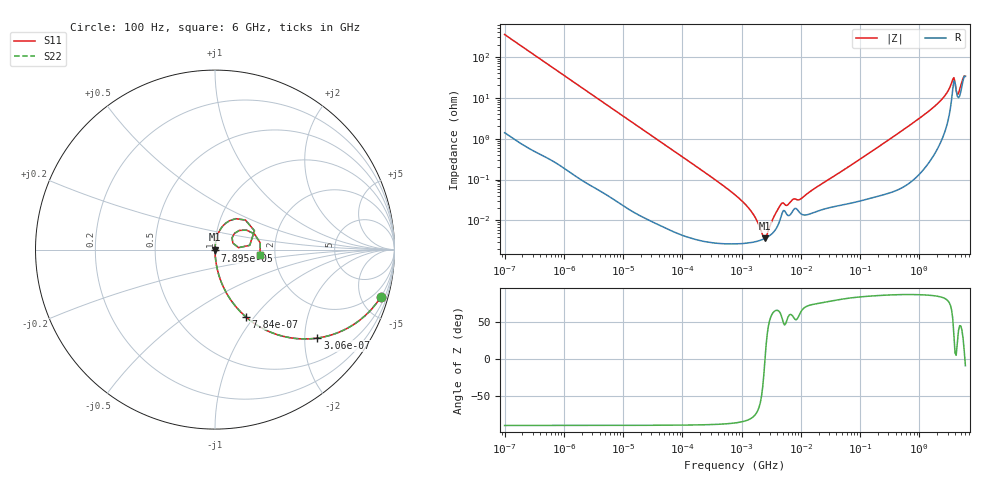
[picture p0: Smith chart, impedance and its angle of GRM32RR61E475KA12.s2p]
!Murata Part Number: GRM32RR61E475KA12
!These Parameters are Measured in Series Mode Connection
!Data Generated on Mar 30, 2021
!  o--ll--o
!Port1  Port2
!  o------o
!Operation Temp=25[degC], DC Bias Voltage=0[V]
!Freq. Start=100[Hz] Stop=6[GHz] 401[Steps]
# Hz S RI R 50
!Freq.(Hz) S11(Real) S11(Imag) S21(Real) S21(Imag) S12(Real) S12(Imag) S22(Real) S22(Imag)
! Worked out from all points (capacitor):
!   401 points, 100 Hz to 6 GHz, reference 50 ohm
!   read as one part in series: C = 4.52 uF near 109 Hz
!   lowest |Z| = 3.64 mohm at 2.481 MHz (marker M1)
!   series resonance near 2.484 MHz, so ESL is about 910 pH
!   S11 on the Smith chart (normalised r, x): 100 Hz: 1.03, -7.04; 306 Hz: 1.01, -2.30; 784 Hz: 1.00, -0.90; 78.95 kHz: 1.00, -0.01; 6 GHz: 1.66, -0.10
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100  0.9244 -0.2623  0.0756 0.2623  0.0756 0.2623  0.9244 -0.2623
164  0.8217 -0.3808  0.1783 0.3808  0.1783 0.3808  0.8217 -0.3808
306  0.5701 -0.4929  0.4299 0.4929  0.4299 0.4929  0.5701 -0.4929
784  0.1706 -0.3735  0.8294 0.3735  0.8294 0.3735  0.1706 -0.3735
2008  0.0312 -0.1712  0.9688 0.1712  0.9688 0.1712  0.0312 -0.1712
6433  0.00341 -0.0552  0.9966 0.0552  0.9966 0.0552  0.00341 -0.0552
40335  0.000157 -0.0089  0.9998 0.0089  0.9998 0.0089  0.000157 -0.0089
78952  7.04e-05 -0.00456  0.9999 0.00456  0.9999 0.00456  7.04e-05 -0.00456
774597  2.7e-05 -0.000423  1 0.000423  1 0.000423  2.7e-05 -0.000423
1813585  3.09e-05 -9.46e-05  1 9.46e-05  1 9.46e-05  3.09e-05 -9.46e-05
2481164  3.64e-05 -3e-07  1 3e-07  1 3e-07  3.64e-05 -3e-07
3245845  4.72e-05 8.4e-05  1 -8.4e-05  1 -8.4e-05  4.72e-05 8.4e-05
4643984  0.000125 0.000217  0.9999 -0.000217  0.9999 -0.000217  0.000125 0.000217
9941735  0.000148 0.000301  0.9999 -0.000301  0.9999 -0.000301  0.000148 0.000301
1.555665e7  0.000151 0.000533  0.9998 -0.000533  0.9998 -0.000533  0.000151 0.000533
3.124326e8  0.00056 0.00956  0.9994 -0.00956  0.9994 -0.00956  0.00056 0.00956
1.873145e9  0.00862 0.0634  0.9914 -0.0634  0.9914 -0.0634  0.00862 0.0634
2.679998e9  0.0255 0.1054  0.9745 -0.1054  0.9745 -0.1054  0.0255 0.1054
3.505958e9  0.1156 0.1722  0.8844 -0.1722  0.8844 -0.1722  0.1156 0.1722
3.8344e9  0.2198 0.1052  0.7802 -0.1052  0.7802 -0.1052  0.2198 0.1052
4.586474e9  0.0952 0.0655  0.9048 -0.0655  0.9048 -0.0655  0.0952 0.0655
6e9  0.2505 -0.0287  0.7495 0.0287  0.7495 0.0287  0.2505 -0.0287
